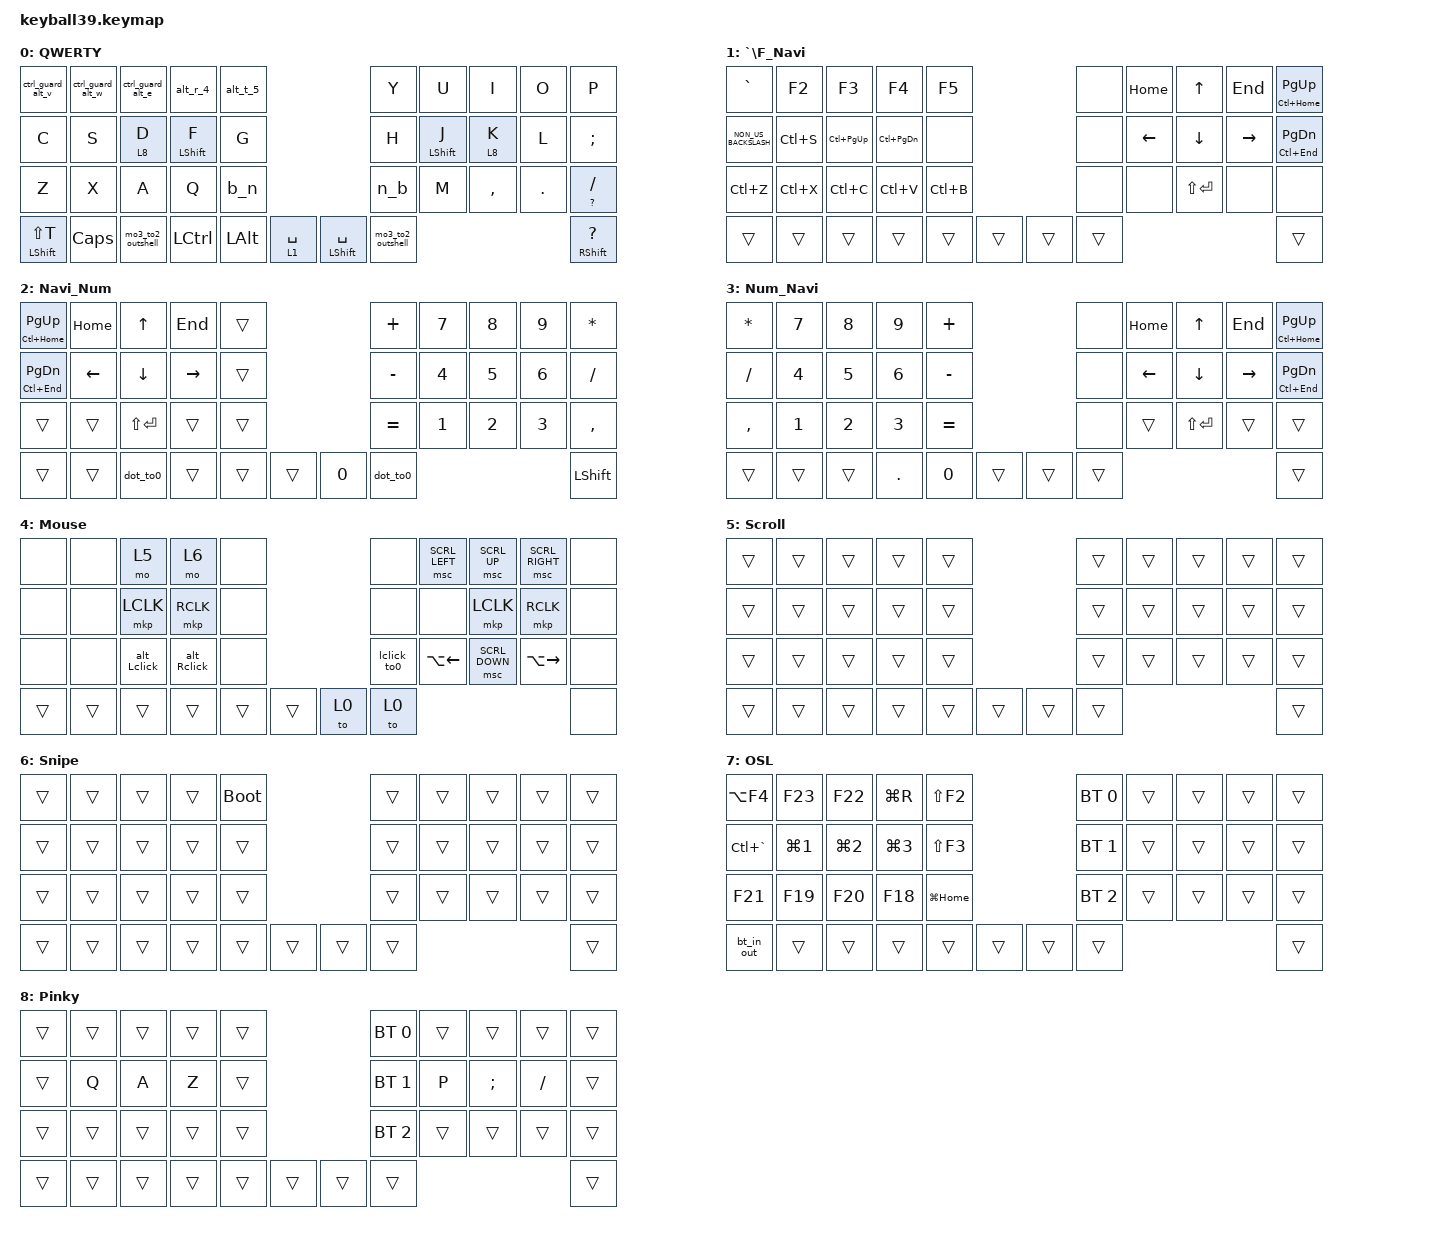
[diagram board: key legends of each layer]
#define DEFAULT  0
#define NAV      1
#define NAV_NUM  2
#define NUM_NAVI 3
#define MOUSE    4
#define SCROLL   5
#define SNIPE    6
#define OSL      7
#define PINKY    8
#define ZMK_POINTING_DEFAULT_SCRL_VAL 30

#include <behaviors/mouse_keys.dtsi>
#include <dt-bindings/zmk/mouse.h>
#include <behaviors.dtsi>
#include <dt-bindings/zmk/bt.h>
#include <dt-bindings/zmk/keys.h>
#include <dt-bindings/zmk/outputs.h>
#include <dt-bindings/zmk/pointing.h>

/ {
    behaviors {
        cmqus: comma_question {
            compatible = "zmk,behavior-mod-morph";
            #binding-cells = <0>;
            bindings = <&kp COMMA>, <&kp QUESTION>;

            mods = <(MOD_LSFT | MOD_RSFT)>;
        };

        dtsmi: dot_semicolon {
            compatible = "zmk,behavior-mod-morph";
            #binding-cells = <0>;
            bindings = <&kp DOT>, <&kp SEMICOLON>;

            mods = <(MOD_LSFT | MOD_RSFT)>;
        };

        hrm_L: homerow_mods_left {
            compatible = "zmk,behavior-hold-tap";
            #binding-cells = <2>;
            tapping-term-ms = <280>;
            quick-tap-ms = <100>;
            require-prior-idle-ms = <60>;
            flavor = "balanced";
            hold-trigger-key-positions = <5 6 7 8 9 15 16 17 18 19 25 26 27 28 29 37 38 36>;
            bindings = <&kp>, <&kp>;
        };

        ht: hold_tap {
            compatible = "zmk,behavior-hold-tap";
            #binding-cells = <2>;
            tapping-term-ms = <200>;
            quick-tap-ms = <150>;
            flavor = "balanced";
            bindings = <&kp>, <&kp>;
        };

        hrm_r: homerow_mods_right {
            compatible = "zmk,behavior-hold-tap";
            #binding-cells = <2>;
            tapping-term-ms = <280>;
            quick-tap-ms = <100>;
            require-prior-idle-ms = <60>;
            flavor = "balanced";
            hold-trigger-key-positions = <0 1 2 3 4 10 11 12 13 14 20 21 22 23 24 30 31 32 33 34 35>;
            bindings = <&kp>, <&kp>;
        };

        alt_v_1: alt_v_1 {
            compatible = "zmk,behavior-mod-morph";
            #binding-cells = <0>;
            bindings = <&kp V>, <&kp N1>;

            mods = <MOD_LALT>;
        };

        alt_w_2: alt_w_2 {
            compatible = "zmk,behavior-mod-morph";
            #binding-cells = <0>;
            bindings = <&kp W>, <&kp N2>;

            mods = <MOD_LALT>;
        };

        alt_e_3: alt_e_3 {
            compatible = "zmk,behavior-mod-morph";
            #binding-cells = <0>;
            bindings = <&kp E>, <&kp N3>;

            mods = <MOD_LALT>;
        };

        alt_r_4: alt_r_4 {
            compatible = "zmk,behavior-mod-morph";
            #binding-cells = <0>;
            bindings = <&kp R>, <&kp N4>;

            mods = <MOD_LALT>;
        };

        alt_t_5: alt_t_5 {
            compatible = "zmk,behavior-mod-morph";
            #binding-cells = <0>;
            bindings = <&kp T>, <&kp N5>;

            mods = <MOD_LALT>;
        };

        space_to0: space_to0 {
            compatible = "zmk,behavior-tap-dance";
            #binding-cells = <0>;
            tapping-term-ms = <200>;
            bindings = <&kp SPACE>, <&to 0>;
        };

        space_shift: space_shift {
            compatible = "zmk,behavior-hold-tap";
            #binding-cells = <2>;
            tapping-term-ms = <200>;
            quick-tap-ms = <150>;
            flavor = "tap-preferred";
            bindings = <&kp>, <&kp>;
        };

        mo2_dtab_to2: dtap_to_lay2 {
            compatible = "zmk,behavior-tap-dance";
            #binding-cells = <0>;
            tapping-term-ms = <200>;
            bindings = <&mo 2>, <&to 2>;
        };

        ctrl_guard_alt_e: ctrl_guard_alt_e {
            compatible = "zmk,behavior-mod-morph";
            #binding-cells = <0>;
            bindings = <&alt_e_3>, <&kp E>;

            mods = <(MOD_LCTL | MOD_RCTL)>;
            keep-mods = <(MOD_LCTL | MOD_RCTL)>;
        };

        ctrl_guard_alt_v: ctrl_guard_alt_v {
            compatible = "zmk,behavior-mod-morph";
            #binding-cells = <0>;
            bindings = <&alt_v_1>, <&kp V>;

            mods = <(MOD_LCTL | MOD_RCTL)>;
            keep-mods = <(MOD_LCTL | MOD_RCTL)>;
        };

        ctrl_guard_alt_w: ctrl_guard_alt_w {
            compatible = "zmk,behavior-mod-morph";
            #binding-cells = <0>;
            bindings = <&alt_w_2>, <&kp W>;

            mods = <(MOD_LCTL | MOD_RCTL)>;
            keep-mods = <(MOD_LCTL | MOD_RCTL)>;
        };

        mo3_to2_outshell: mo3_to2_outshell {
            compatible = "zmk,behavior-tap-dance";
            #binding-cells = <0>;
            tapping-term-ms = <200>;
            bindings = <&mo 3>, <&to 2>;
        };

        mo3_to2_in: mo3_to2_in {
            compatible = "zmk,behavior-tap-dance";
            #binding-cells = <0>;
            tapping-term-ms = <200>;
            bindings = <&mo 3>, <&to 2>;
        };

        n_b: n_b {
            compatible = "zmk,behavior-tap-dance";
            #binding-cells = <0>;
            tapping-term-ms = <200>;
            bindings = <&kp N>, <&kp B>;
        };

        dot_to0: dot_to0 {
            compatible = "zmk,behavior-tap-dance";
            #binding-cells = <0>;
            tapping-term-ms = <200>;
            bindings = <&kp DOT>, <&to 0>;
        };

        b_n: b_n {
            compatible = "zmk,behavior-tap-dance";
            #binding-cells = <0>;
            tapping-term-ms = <200>;
            bindings = <&kp B>, <&kp N>;
        };

        mouse_ht_click: mouse_ht_click {
            compatible = "zmk,behavior-hold-tap";
            #binding-cells = <2>;
            tapping-term-ms = <200>;
            flavor = "tap-preferred";
            bindings = <&mkp>, <&mkp>;
        };

        caps_c: caps_c {
            compatible = "zmk,behavior-hold-tap";
            label = "CAPS_C";
            bindings = <&kp>, <&kp>;

            #binding-cells = <2>;
            tapping-term-ms = <200>;
        };
    };

    macros {
        Hiragana: Hiragana {
            compatible = "zmk,behavior-macro";
            #binding-cells = <0>;
            bindings =
                <&macro_press>,
                <&kp LEFT_ALT>,
                <&macro_tap>,
                <&kp GRAVE>,
                <&macro_release>,
                <&kp LEFT_ALT>;
        };

        bt_in_out: bt_in_out {
            compatible = "zmk,behavior-macro";
            #binding-cells = <0>;
            bindings = <&macro_tap>, <&out OUT_TOG>, <&macro_tap>, <&bt BT_CLR>;
        };

        lclick_to0: lclick_to0 {
            compatible = "zmk,behavior-macro";
            #binding-cells = <0>;
            bindings = <&macro_tap>, <&mkp LCLK>, <&to 0>;
        };

        alt_Lclick: alt_click {
            compatible = "zmk,behavior-macro";
            #binding-cells = <0>;
            bindings =
                <&macro_press>,
                <&kp LALT &mkp LCLK>,
                <&macro_pause_for_release>,
                <&macro_release>,
                <&mkp LCLK &kp LEFT_ALT>;

            label = "ALT_CLICK";
        };

        alt_Rclick: alt_right_click {
            compatible = "zmk,behavior-macro";
            #binding-cells = <0>;
            bindings =
                <&macro_press>,
                <&kp LALT &mkp RCLK>,
                <&macro_pause_for_release>,
                <&macro_release>,
                <&mkp RCLK &kp LEFT_ALT>;

            label = "ALT_RIGHT_CLICK";
        };
    };

    combos {
        compatible = "zmk,combos";

        enter_r {
            bindings = <&kp ENTER>;
            key-positions = <16 17>;
            layers = <0 2>;
        };

        enter_l {
            bindings = <&kp ENTER>;
            key-positions = <12 13>;
            layers = <0 3>;
        };

        del_r {
            bindings = <&kp DELETE>;
            key-positions = <7 8>;
            layers = <0 2>;
        };

        del_l {
            bindings = <&kp DELETE>;
            key-positions = <22 23>;
            layers = <0 2>;
        };

        bsp_r {
            bindings = <&kp BACKSPACE>;
            key-positions = <6 7>;
            layers = <0 2>;
        };

        bsp_l {
            bindings = <&kp BACKSPACE>;
            key-positions = <21 22>;
            layers = <0 3>;
        };

        caps_combo {
            bindings = <&kp CAPSLOCK>;
            key-positions = <20 21>;
            layers = <0>;
        };

        esc_combo {
            bindings = <&kp ESC>;
            key-positions = <0 1>;
        };

        ralt_combo {
            bindings = <&kp RALT>;
            key-positions = <16 18>;
        };

        osl_combo {
            bindings = <&sl 7>;
            key-positions = <11 12 13>;
        };

        shift_home {
            bindings = <&kp LS(HOME)>;
            key-positions = <6 7>;
            layers = <1 3>;
        };

        shift_end {
            bindings = <&kp LS(END)>;
            key-positions = <7 8>;
            layers = <1 3>;
        };

        ctrl_left {
            bindings = <&kp LC(LEFT)>;
            key-positions = <16 17>;
            layers = <1 3>;
        };

        ctrl_right {
            bindings = <&kp LC(RIGHT)>;
            key-positions = <17 18>;
            layers = <1 3>;
        };

        space_combo {
            bindings = <&kp SPACE>;
            key-positions = <23 24>;
        };

        tab_combo {
            bindings = <&kp TAB>;
            key-positions = <11 10>;
            layers = <0 1 2 3>;
        };

        minus_underscore {
            bindings = <&kp MINUS>;
            key-positions = <26 27>;
            layers = <0>;
        };

        quote {
            bindings = <&kp SINGLE_QUOTE>;
            key-positions = <18 19>;
            layers = <0>;
        };

        dtap_to_l2 {
            bindings = <&mo2_dtab_to2>;
            key-positions = <11 13>;
            layers = <0>;
        };

        kp {
            bindings = <&kp LEFT_PARENTHESIS>;
            key-positions = <13 14>;
        };

        bra_R {
            bindings = <&kp RIGHT_PARENTHESIS>;
            key-positions = <15 16>;
        };

        BKT_L {
            bindings = <&kp LEFT_BRACKET>;
            key-positions = <3 4>;
        };

        BKT_R {
            bindings = <&kp RIGHT_BRACKET>;
            key-positions = <5 6>;
        };

        gui_l {
            bindings = <&kp LG(L)>;
            key-positions = <1 2 0>;
            layers = <0>;
        };

        shift_home_l2 {
            bindings = <&kp LS(HOME)>;
            key-positions = <1 2>;
            layers = <2>;
        };

        shift_end_l2 {
            bindings = <&kp LS(END)>;
            key-positions = <2 3>;
            layers = <2>;
        };

        ctrl_left_l2 {
            bindings = <&kp LC(LEFT)>;
            key-positions = <11 12>;
            layers = <2>;
        };

        ctrl_righr_l2 {
            bindings = <&kp LC(RIGHT)>;
            key-positions = <12 13>;
            layers = <2>;
        };

        grave_R {
            bindings = <&kp GRAVE>;
            key-positions = <27 28>;
            layers = <0>;
        };

        backslash {
            bindings = <&kp BACKSLASH>;
            key-positions = <28 29>;
            layers = <0>;
        };

        equal_plus {
            bindings = <&kp EQUAL>;
            key-positions = <25 26>;
        };

        ssang_siut {
            bindings = <&kp LS(T)>;
            key-positions = <12 11>;
            layers = <0>;
            timeout-ms = <30>;
        };

        ssang_giyeok {
            bindings = <&kp LS(R)>;
            key-positions = <2 3>;
            layers = <0>;
            timeout-ms = <30>;
        };

        ssang_digeut {
            bindings = <&kp LS(E)>;
            key-positions = <2 1>;
            layers = <0>;
            timeout-ms = <30>;
        };

        dtap_to_l0 {
            bindings = <&to 0>;
            key-positions = <11 13>;
            layers = <2>;
        };

        osl_f2 {
            bindings = <&kp F2>;
            key-positions = <1 2 3>;
        };

        mkp_mid {
            bindings = <&mkp MCLK>;
            key-positions = <17 18>;
            layers = <4>;
        };

        question_mark {
            bindings = <&kp QUESTION>;
            key-positions = <17 18>;
            layers = <0>;
            timeout-ms = <30>;
        };
    };

    keymap {
        compatible = "zmk,keymap";

        default_layer {
            label = "QWERTY";
            bindings = <
&ctrl_guard_alt_v     &ctrl_guard_alt_w  &ctrl_guard_alt_e  &alt_r_4        &alt_t_5                                                  &kp Y              &kp U            &kp I      &kp O    &kp P
&kp C                 &kp S              &lt 8 D            &hrm_L LSHFT F  &kp G                                                     &kp H              &hrm_r LSHIFT J  &lt 8 K    &kp L    &kp SEMICOLON
&kp Z                 &kp X              &kp A              &kp Q           &b_n                                                      &n_b               &kp M            &kp COMMA  &kp DOT  &ht QUESTION SLASH
&mt LEFT_SHIFT LS(T)  &kp CAPSLOCK       &mo3_to2_outshell  &kp LCTRL       &kp LEFT_ALT  &lt 1 SPACE  &space_shift LEFT_SHIFT SPACE  &mo3_to2_outshell                                       &mt RIGHT_SHIFT QUESTION
            >;
        };

        f_nav {
            label = "`\F_Navi";
            bindings = <
&kp GRAVE             &kp F2     &kp F3         &kp F4             &kp F5                     &none   &kp HOME        &kp UP_ARROW   &kp END    &ht LC(HOME) PG_UP
&kp NON_US_BACKSLASH  &kp LC(S)  &kp LC(PG_UP)  &kp LC(PAGE_DOWN)  &none                      &none   &kp LEFT_ARROW  &kp DOWN       &kp RIGHT  &ht LC(END) PAGE_DOWN
&kp LC(Z)             &kp LC(X)  &kp LC(C)      &kp LC(V)          &kp LC(B)                  &none   &none           &kp LS(ENTER)  &none      &none
&trans                &trans     &trans         &trans             &trans     &trans  &trans  &trans                                            &trans
            >;
        };

        navi_num {
            label = "Navi_Num";
            bindings = <
&ht LC(HOME) PG_UP  &kp HOME  &kp UP         &kp END    &trans                        &kp PLUS   &kp N7  &kp N8  &kp N9  &kp ASTERISK
&ht LC(END) PG_DN   &kp LEFT  &kp DOWN       &kp RIGHT  &trans                        &kp MINUS  &kp N4  &kp N5  &kp N6  &kp SLASH
&trans              &trans    &kp LS(ENTER)  &trans     &trans                        &kp EQUAL  &kp N1  &kp N2  &kp N3  &kp COMMA
&trans              &trans    &dot_to0       &trans     &trans  &trans  &kp NUMBER_0  &dot_to0                           &kp LSHFT
            >;
        };

        num_navi {
            label = "Num_Navi";
            bindings = <
&kp ASTERISK  &kp N7  &kp N8  &kp N9   &kp PLUS                   &none   &kp HOME  &kp UP         &kp END    &ht LC(HOME) PG_UP
&kp SLASH     &kp N4  &kp N5  &kp N6   &kp MINUS                  &none   &kp LEFT  &kp DOWN       &kp RIGHT  &ht LC(END) PAGE_DOWN
&kp COMMA     &kp N1  &kp N2  &kp N3   &kp EQUAL                  &none   &trans    &kp LS(ENTER)  &trans     &trans
&trans        &trans  &trans  &kp DOT  &kp N0     &trans  &trans  &trans                                      &trans
            >;
        };

        mouse_layer {
            label = "Mouse";
            bindings = <
&none   &none   &mo 5        &mo 6        &none                  &none  &msc SCRL_LEFT      &msc SCRL_UP    &msc SCRL_RIGHT  &none
&none   &none   &mkp LCLK    &mkp RCLK    &none                  &none  &none               &mkp LCLK       &mkp RCLK        &none
&none   &none   &alt_Lclick  &alt_Rclick  &none                  &lclick_to0  &kp LA(LEFT_ARROW)  &msc SCRL_DOWN  &kp LA(RIGHT)    &none
&trans  &trans  &trans       &trans       &trans  &trans  &to 0  &to 0                                                       &none
            >;
        };

        scroll_layer {
            label = "Scroll";
            bindings = <
&trans  &trans  &trans  &trans  &trans                  &trans  &trans  &trans  &trans  &trans
&trans  &trans  &trans  &trans  &trans                  &trans  &trans  &trans  &trans  &trans
&trans  &trans  &trans  &trans  &trans                  &trans  &trans  &trans  &trans  &trans
&trans  &trans  &trans  &trans  &trans  &trans  &trans  &trans                          &trans
            >;
        };

        snipe_layer {
            label = "Snipe";
            bindings = <
&trans  &trans  &trans  &trans  &bootloader                  &trans  &trans  &trans  &trans  &trans
&trans  &trans  &trans  &trans  &trans                       &trans  &trans  &trans  &trans  &trans
&trans  &trans  &trans  &trans  &trans                       &trans  &trans  &trans  &trans  &trans
&trans  &trans  &trans  &trans  &trans       &trans  &trans  &trans                          &trans
            >;
        };

        osl_layer {
            label = "OSL";
            bindings = <
&kp LA(F4)     &kp F23           &kp F22           &kp LG(R)         &kp LS(F2)                    &bt BT_SEL 0  &trans  &trans  &trans  &trans
&kp LC(GRAVE)  &kp LG(NUMBER_1)  &kp LG(NUMBER_2)  &kp LG(NUMBER_3)  &kp LS(F3)                    &bt BT_SEL 1  &trans  &trans  &trans  &trans
&kp F21        &kp F19           &kp F20           &kp F18           &kp LG(HOME)                  &bt BT_SEL 2  &trans  &trans  &trans  &trans
&bt_in_out     &trans            &trans            &trans            &trans        &trans  &trans  &trans                                &trans
            >;
        };

        pinky_layer {
            label = "Pinky";
            bindings = <
&trans  &trans  &trans  &trans  &trans                  &bt BT_SEL 0  &trans  &trans         &trans     &trans
&trans  &kp Q   &kp A   &kp Z   &trans                  &bt BT_SEL 1  &kp P   &kp SEMICOLON  &kp SLASH  &trans
&trans  &trans  &trans  &trans  &trans                  &bt BT_SEL 2  &trans  &trans         &trans     &trans
&trans  &trans  &trans  &trans  &trans  &trans  &trans  &trans                                          &trans
            >;
        };
    };
};
